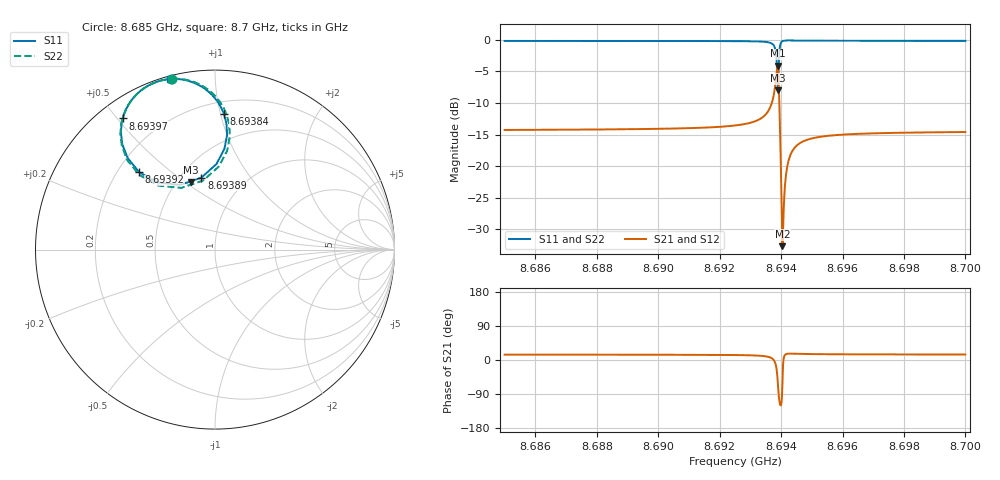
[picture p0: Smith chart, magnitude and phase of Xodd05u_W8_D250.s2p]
! Sonnet Data File
! From: emgraph Version : 16.52
! From Project: Qubit_Xmon2_brg_para2
! Data is De-embedded
! Data File Written: 11/12/2017 19:07:08
!< HDATE 11/12/2017 17:14:45
!< MDATE 11/12/2017 17:15:37
!< PARAMS
!< Lj = 11.0
!< Gap = 6.0
!< Pwid = 2000.0
!< Airgap = 6.0
!< Width = 10.0
!< Bwid = 8.0
!< Dis1 = 250.0
!< Dis2 = 256.0
!< END PARAMS
# GHZ S MA R 34.65000
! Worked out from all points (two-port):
!   3001 points, 8.685 GHz to 8.7 GHz, reference 34.65 ohm
!   highest |S21| = -4.09 dB at 8.69388 GHz (marker M1); lowest = -32.7 dB at 8.69404 GHz (marker M2)
!   |S21| within 3 dB of the highest: 8.693812 GHz to 8.693925 GHz (112.9 kHz wide, 0.0013 % of centre)
!   lowest |S11| = -8.0 dB at 8.69389 GHz (marker M3), VSWR 2.32, Z = 20.5 + j18.3 ohm
!   |S11| at or under -10 dB: nowhere
!   |S22| runs from -8.4 to -0.1 dB; largest |S21 - S12| = 0
!   S11 on the Smith chart (normalised r, x): 8.685 GHz: 0.02, +0.78; 8.69384 GHz: 0.29, +1.03; 8.69389 GHz: 0.63, +0.61; 8.69392 GHz: 0.29, +0.39; 8.69397 GHz: 0.07, +0.52; 8.7 GHz: 0.01, +0.77
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8.685  0.9811 104.4  0.1934 14.2  0.1934 14.2  0.9811 104.0
!< P1 F=8.685 Eeff=(5.13531798 -5.6615e-5) Z0=(34.6525852 -9.396e-5) R=0.0 C=0.0
!< P2 F=8.685 Eeff=(5.13531798 -5.6615e-5) Z0=(34.6525852 -9.396e-5) R=0.0 C=0.0
8.6875  0.9808 104.3  0.1947 14.1  0.1947 14.1  0.9808 103.9
8.69  0.9803 104.1  0.1975 13.9  0.1975 13.9  0.9803 103.7
8.6925  0.9775 103.4  0.2099 13.1  0.2099 13.1  0.9775 103.0
8.693305  0.9704 101.9  0.2356 11.3  0.2356 11.3  0.9704 101.5
8.69367  0.9436 98.0  0.3026 5.9  0.3026 5.9  0.9433 97.4
8.693775  0.8935 93.3  0.3823 -1.8  0.3823 -1.8  0.8926 92.5
8.693815  0.8336 89.5  0.4476 -9.2  0.4476 -9.2  0.8317 88.5
8.69384  0.7553 86.1  0.5091 -17.5  0.5091 -17.5  0.7518 85.0
8.693885  0.4369 93.8  0.6242 -49.6  0.6242 -49.6  0.4217 92.2
8.69389  0.408 100.8  0.6231 -55.1  0.6231 -55.1  0.3907 99.6
8.693895  0.3974 109.4  0.6154 -60.9  0.6154 -60.9  0.3789 108.9
8.69392  0.6029 134.4  0.4807 -89.3  0.4807 -89.3  0.5923 135.4
8.693965  0.8939 125.1  0.1968 -116.7  0.1968 -116.7  0.891 125.5
8.694005  0.9575 118.7  0.07251 -116.6  0.07251 -116.6  0.9563 118.8
8.694045  0.9775 115.1  0.02323 -55.0  0.02323 -55.0  0.9768 115.0
8.69409  0.9854 112.7  0.04854 6.2  0.04854 6.2  0.985 112.6
8.69419  0.9895 109.9  0.09589 16.2  0.09589 16.2  0.9893 109.7
8.694335  0.9892 108.1  0.1274 16.8  0.1274 16.8  0.9891 107.8
8.695  0.9857 105.9  0.1657 15.6  0.1657 15.6  0.9857 105.6
8.6975  0.9831 104.9  0.1831 14.7  0.1831 14.7  0.9831 104.5
8.7  0.9825 104.7  0.1862 14.5  0.1862 14.5  0.9825 104.3
